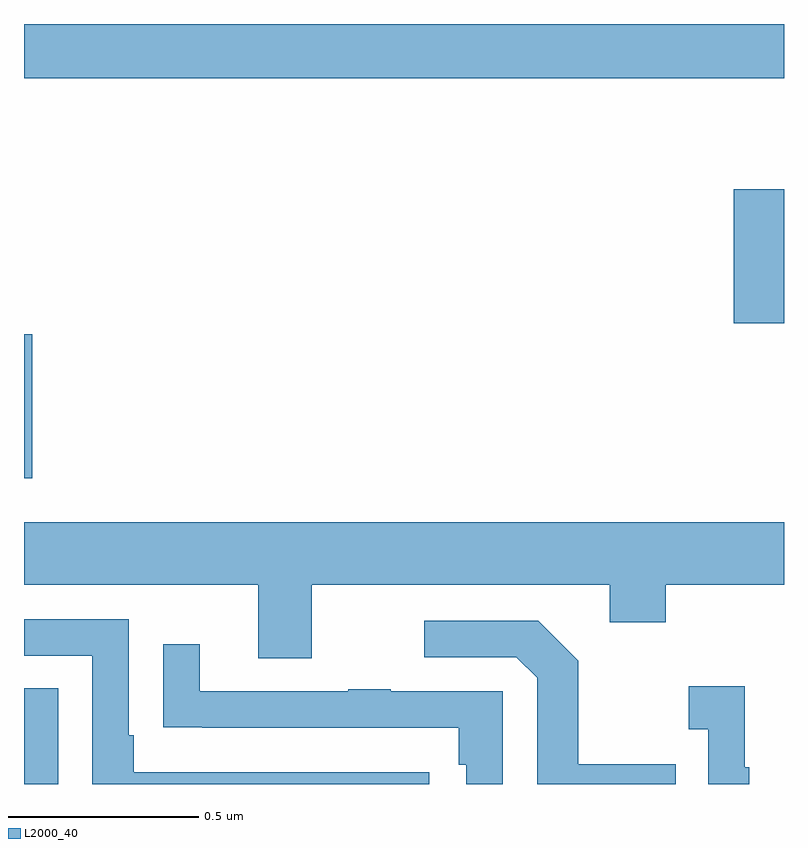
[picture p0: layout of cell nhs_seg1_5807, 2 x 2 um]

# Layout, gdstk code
import gdstk
lib = gdstk.Library(unit=1e-6, precision=1e-09)
def R(c, l, rs):  # rectangles x0, y0, x1, y1
    for r in rs: c.add(gdstk.rectangle(r[:2], r[2:], *l))
def P(c, l, *ps):  # polygons
    for p in ps: c.add(gdstk.Polygon(p, *l))
L2000_40 = (2000, 40)

nhs_seg1_5807 = lib.new_cell('nhs_seg1_5807')
R(nhs_seg1_5807, L2000_40, [(183,559.199,183.09,559.451), (183,560.003,183.022,560.383), (184.868,560.411,185,560.764), (183,561.056,185,561.199)])
P(nhs_seg1_5807, L2000_40, [(183.757,559.724),(184.541,559.724),(184.541,559.625),(184.689,559.625),(184.689,559.724),(185,559.724),(185,559.888),(183,559.888),(183,559.724),(183.617,559.724),(183.617,559.53),(183.757,559.53)],
  [(184.066,559.23),(183.289,559.23),(183.289,559.327),(183.276,559.327),(183.276,559.632),(183,559.632),(183,559.536),(183.18,559.536),(183.18,559.199),(184.066,559.199)],
  [(184.715,559.251),(184.459,559.251),(184.459,559.523),(184.353,559.629),(184.053,559.629),(184.053,559.533),(184.296,559.533),(184.35,559.479),(184.35,559.199),(184.715,559.199)],
  [(184.26,559.443),(183.965,559.443),(183.965,559.448),(183.853,559.448),(183.853,559.443),(183.463,559.443),(183.463,559.567),(183.367,559.567),(183.367,559.348),(183.469,559.348),(183.469,559.347),(184.144,559.347),(184.144,559.25),(184.164,559.25),(184.164,559.199),(184.26,559.199)],
  [(184.909,559.243),(184.897,559.243),(184.897,559.456),(184.749,559.456),(184.749,559.343),(184.8,559.343),(184.8,559.199),(184.909,559.199)])

lib.write_gds('nhs_seg1_5807.gds')
